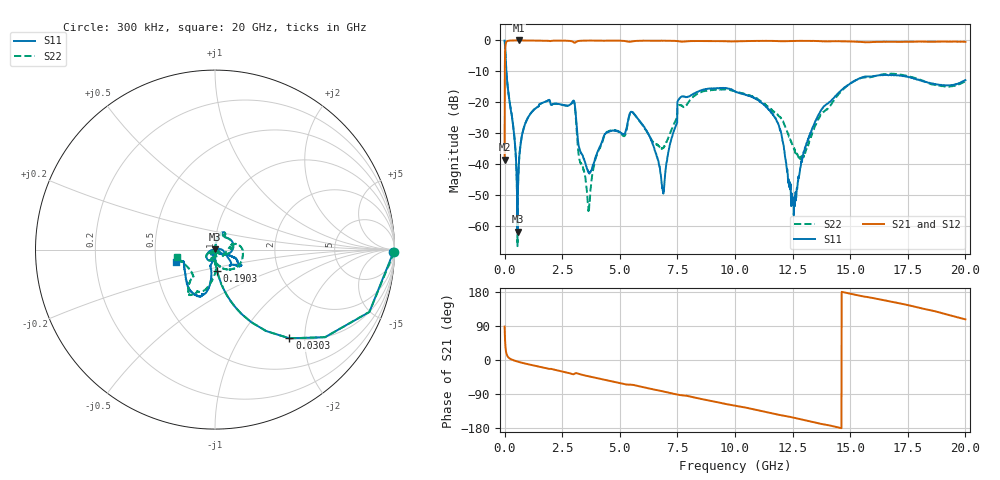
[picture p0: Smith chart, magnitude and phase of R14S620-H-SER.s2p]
!{R14S620}
!Johanson Technology Inc.
!www.johansontechnology.com
!Test Board Conditions:
!Substrate Type  RO4350B
!Substrate Thickness  20 mil
!Substrate Dk  3.66
!TL Type: GCPW
!TL Trace Width  36 mil
!TL Gap  12 mil
!Electrode orientation  Horizontal
!DUT TOPOLOGY	SERIES
!Mounting Pad LxW  26x36 mil
! Created Wed Nov 25 17:33:21 2020
! 2 Port Network Data from SP1.SP block
! freq  magS11  angS11  magS21  angS21  magS12  angS12  magS22  angS22
# khz S ma R 50
! decimated to every 10th point (10 MHz spacing) of the original 1 MHz Johanson file; values unchanged
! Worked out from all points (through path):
!   2001 points, 300 kHz to 20 GHz, reference 50 ohm
!   highest |S21| = 0.00 dB at 610.3 MHz (marker M1); lowest = -38.6 dB at 300 kHz (marker M2)
!   group delay of S21, straight-line fit = 34.9 ps
!   lowest |S11| = -61.9 dB at 560.3 MHz (marker M3), VSWR 1.00, Z = 50.1 + j0.0608 ohm
!   |S11| at or under -10 dB: 75.74 MHz to end of sweep
!   |S22| runs from -66.6 to 0.0 dB; largest |S21 - S12| = 0.017
!   S11 on the Smith chart (normalised r, x): 300 kHz: open; 30.3 MHz: 0.99, -1.68; 190.3 MHz: 0.99, -0.24; 20 GHz: 0.64, -0.09
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300  0.9937 -0.9  0.01169 88.2  0.01162 89.3  0.9978 -0.8
30300  0.6448 -50.0  0.7621 40.0  0.7634 40.0  0.6459 -50.0
110300  0.219 -78.1  0.9753 11.8  0.9742 11.7  0.2198 -78.1
190300  0.1198 -84.3  0.9921 5.4  0.9921 5.3  0.1205 -84.4
560300  0.0008017 49.3  0.9993 -4.2  0.9987 -4.1  0.0004664 125.0
610300  0.008966 80.7  0.9999 -5.0  0.9992 -5.0  0.008915 86.3
930300  0.04864 78.6  0.9978 -9.9  0.9979 -9.9  0.04844 81.0
1860300  0.1054 66.1  0.9908 -22.4  0.9904 -22.4  0.1054 66.0
2970300  0.1048 27.2  0.9481 -37.6  0.949 -37.5  0.1024 26.7
3340300  0.01462 8.9  0.991 -38.7  0.9909 -38.6  0.009965 32.3
3660300  0.007327 -31.8  0.9952 -43.3  0.9952 -43.2  0.001663 141.7
4350300  0.03061 -116.5  0.9894 -52.0  0.9904 -52.0  0.02985 -141.7
5530300  0.0697 -125.3  0.9641 -65.2  0.9635 -65.2  0.06911 -131.4
6670300  0.01145 -170.8  0.9891 -80.2  0.9891 -80.2  0.01999 -108.3
6910300  0.00367 75.4  0.9915 -83.3  0.9908 -83.3  0.01845 -75.0
7630300  0.1185 -41.4  0.9614 -92.6  0.9613 -92.6  0.09019 5.5
1.00003e7  0.1499 -30.3  0.9642 -120.2  0.9651 -120.2  0.1492 -45.3
1.17903e7  0.05188 -29.8  0.9789 -143.2  0.979 -143.2  0.06438 -94.3
1.25403e7  0.002615 -24.3  0.9821 -152.2  0.9827 -152.2  0.01838 -141.7
1.33403e7  0.03711 -102.4  0.9822 -163.1  0.9845 -163.0  0.03017 -78.9
1.66703e7  0.2731 -111.9  0.9506 155.3  0.944 155.0  0.2893 -118.8
2e7  0.2277 -162.4  0.9495 107.2  0.9492 107.3  0.2184 -169.1
